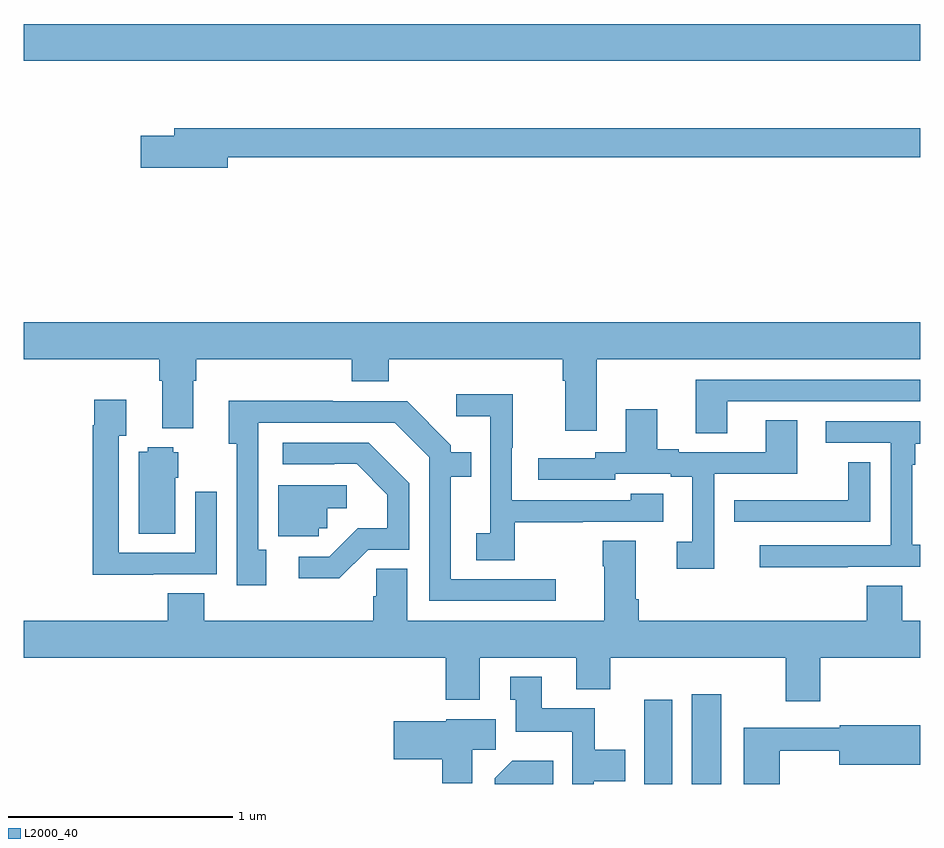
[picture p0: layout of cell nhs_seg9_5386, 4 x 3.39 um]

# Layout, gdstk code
import gdstk
lib = gdstk.Library(unit=1e-6, precision=1e-09)
def R(c, l, rs):  # rectangles x0, y0, x1, y1
    for r in rs: c.add(gdstk.rectangle(r[:2], r[2:], *l))
def P(c, l, *ps):  # polygons
    for p in ps: c.add(gdstk.Polygon(p, *l))
L2000_40 = (2000, 40)

nhs_seg9_5386 = lib.new_cell('nhs_seg9_5386')
R(nhs_seg9_5386, L2000_40, [(425.768,1218.5,425.893,1218.877), (425.981,1218.5,426.112,1218.901), (423,1221.728,427,1221.892)])
P(nhs_seg9_5386, L2000_40, [(423.91,1221.298),(427,1221.298),(427,1221.427),(423.671,1221.427),(423.671,1221.393),(423.522,1221.393),(423.522,1221.251),(423.91,1221.251)],
  [(425.557,1220.396),(427,1220.396),(427,1220.56),(423,1220.56),(423,1220.396),(423.605,1220.396),(423.605,1220.3),(423.617,1220.3),(423.617,1220.087),(423.757,1220.087),(423.757,1220.3),(423.77,1220.3),(423.77,1220.396),(424.463,1220.396),(424.463,1220.297),(424.628,1220.297),(424.628,1220.396),(425.405,1220.396),(425.405,1220.3),(425.417,1220.3),(425.417,1220.076),(425.557,1220.076)],
  [(426.139,1220.208),(427,1220.208),(427,1220.304),(425.999,1220.304),(425.999,1220.065),(426.139,1220.065)],
  [(425.191,1219.669),(425.495,1219.669),(425.495,1219.671),(425.854,1219.671),(425.854,1219.795),(425.709,1219.795),(425.709,1219.767),(425.178,1219.767),(425.178,1220),(425.181,1220),(425.181,1220.239),(424.929,1220.239),(424.929,1220.141),(425.082,1220.141),(425.082,1219.62),(425.019,1219.62),(425.019,1219.498),(425.191,1219.498)],
  [(423.577,1219.437),(423.861,1219.437),(423.861,1219.804),(423.765,1219.804),(423.765,1219.533),(423.423,1219.533),(423.423,1220.054),(423.457,1220.054),(423.457,1220.215),(423.315,1220.215),(423.315,1220.102),(423.307,1220.102),(423.307,1219.433),(423.577,1219.433)],
  [(425.374,1219.413),(424.906,1219.413),(424.906,1219.872),(424.997,1219.872),(424.997,1219.981),(424.905,1219.981),(424.905,1220.013),(424.71,1220.208),(424.379,1220.208),(424.379,1220.21),(423.914,1220.21),(423.914,1220.018),(423.951,1220.018),(423.951,1219.386),(424.081,1219.386),(424.081,1219.546),(424.047,1219.546),(424.047,1220.112),(424.656,1220.112),(424.809,1219.959),(424.809,1219.317),(425.374,1219.317)],
  [(426.081,1219.884),(426.451,1219.884),(426.451,1220.123),(426.311,1220.123),(426.311,1219.98),(425.923,1219.98),(425.923,1219.993),(425.827,1219.993),(425.827,1220.173),(425.687,1220.173),(425.687,1219.98),(425.55,1219.98),(425.55,1219.953),(425.295,1219.953),(425.295,1219.857),(425.64,1219.857),(425.64,1219.884),(425.888,1219.884),(425.888,1219.872),(425.984,1219.872),(425.984,1219.581),(425.913,1219.581),(425.913,1219.461),(426.081,1219.461)],
  [(426.677,1219.47),(427,1219.47),(427,1219.567),(426.966,1219.567),(426.966,1219.925),(426.979,1219.925),(426.979,1220.018),(427,1220.018),(427,1220.118),(426.579,1220.118),(426.579,1220.022),(426.87,1220.022),(426.87,1219.566),(426.285,1219.566),(426.285,1219.468),(426.677,1219.468)],
  [(424.536,1219.545),(424.719,1219.545),(424.719,1219.843),(424.54,1220.022),(424.155,1220.022),(424.155,1219.926),(424.385,1219.926),(424.385,1219.929),(424.485,1219.929),(424.622,1219.792),(424.622,1219.642),(424.489,1219.642),(424.362,1219.515),(424.227,1219.515),(424.227,1219.418),(424.408,1219.418)],
  [(423.676,1219.866),(423.688,1219.866),(423.688,1219.98),(423.666,1219.98),(423.666,1220.002),(423.552,1220.002),(423.552,1219.984),(423.512,1219.984),(423.512,1219.618),(423.676,1219.618)],
  [(426.777,1219.937),(426.679,1219.937),(426.679,1219.767),(426.283,1219.767),(426.283,1219.766),(426.171,1219.766),(426.171,1219.671),(426.777,1219.671)],
  [(424.317,1219.641),(424.353,1219.641),(424.353,1219.73),(424.441,1219.73),(424.441,1219.833),(424.136,1219.833),(424.136,1219.605),(424.317,1219.605)],
  [(426.554,1219.064),(427,1219.064),(427,1219.228),(426.921,1219.228),(426.921,1219.385),(426.761,1219.385),(426.761,1219.228),(425.744,1219.228),(425.744,1219.324),(425.731,1219.324),(425.731,1219.585),(425.584,1219.585),(425.584,1219.472),(425.591,1219.472),(425.591,1219.228),(424.711,1219.228),(424.711,1219.46),(424.573,1219.46),(424.573,1219.338),(424.559,1219.338),(424.559,1219.228),(423.806,1219.228),(423.806,1219.352),(423.641,1219.352),(423.641,1219.228),(423,1219.228),(423,1219.064),(424.883,1219.064),(424.883,1218.875),(425.035,1218.875),(425.035,1219.064),(425.465,1219.064),(425.465,1218.923),(425.618,1218.923),(425.618,1219.064),(426.401,1219.064),(426.401,1218.87),(426.554,1218.87)],
  [(425.544,1218.512),(425.683,1218.512),(425.683,1218.652),(425.547,1218.652),(425.547,1218.838),(425.311,1218.838),(425.311,1218.979),(425.171,1218.979),(425.171,1218.876),(425.195,1218.876),(425.195,1218.734),(425.448,1218.734),(425.448,1218.5),(425.544,1218.5)],
  [(425.002,1218.652),(425.107,1218.652),(425.107,1218.79),(424.884,1218.79),(424.884,1218.781),(424.65,1218.781),(424.65,1218.611),(424.868,1218.611),(424.868,1218.504),(425.002,1218.504)],
  [(426.374,1218.649),(426.638,1218.649),(426.638,1218.587),(427,1218.587),(427,1218.763),(426.642,1218.763),(426.642,1218.75),(426.212,1218.75),(426.212,1218.5),(426.374,1218.5)],
  [(425.363,1218.604),(425.18,1218.604),(425.102,1218.526),(425.102,1218.5),(425.363,1218.5)])

lib.write_gds('nhs_seg9_5386.gds')
